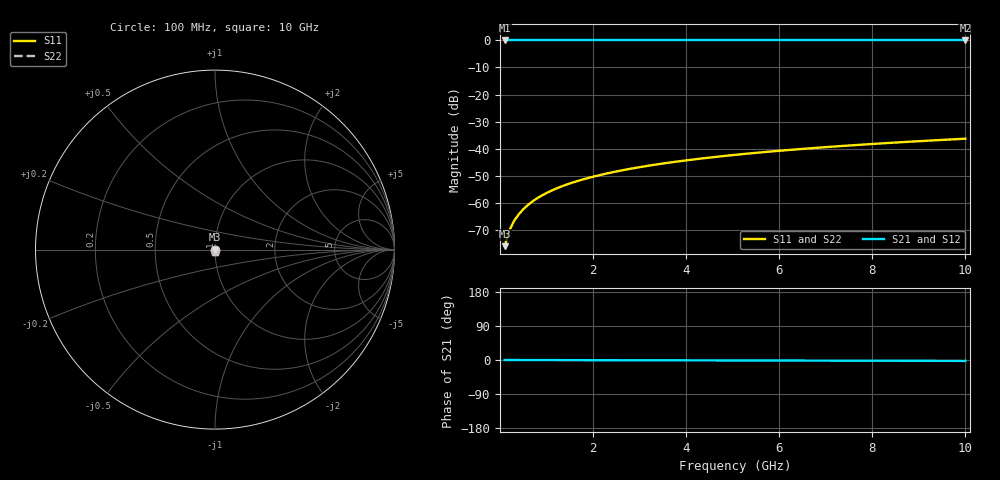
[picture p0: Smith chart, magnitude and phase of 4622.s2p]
# Hz S RI R 50.00
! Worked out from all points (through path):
!   100 points, 100 MHz to 10 GHz, reference 50 ohm
!   highest |S21| = 0.00 dB at 100 MHz (marker M1); lowest = 0.0 dB at 10 GHz (marker M2)
!   lowest |S11| = -76.1 dB at 100 MHz (marker M3), VSWR 1.00, Z = 50 - j0.0151 ohm
!   |S11| at or under -10 dB: start of sweep to end of sweep
!   |S22| runs from -76.1 to -36.3 dB; largest |S21 - S12| = 1e-15
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1e8  4.34e-05 -0.000151  1 -0.000412  1 -0.000412  4.34e-05 -0.000151
2e8  4.32e-05 -0.000301  1 -0.000823  1 -0.000823  4.32e-05 -0.000301
3e8  4.29e-05 -0.000452  1 -0.00123  1 -0.00123  4.29e-05 -0.000452
4e8  4.24e-05 -0.000602  1 -0.00165  1 -0.00165  4.24e-05 -0.000602
5e8  4.17e-05 -0.000753  1 -0.00206  1 -0.00206  4.17e-05 -0.000753
6e8  4.09e-05 -0.000903  0.9999 -0.00247  0.9999 -0.00247  4.09e-05 -0.000903
7e8  3.99e-05 -0.00105  0.9999 -0.00288  0.9999 -0.00288  3.99e-05 -0.00105
8e8  3.89e-05 -0.0012  0.9999 -0.00329  0.9999 -0.00329  3.89e-05 -0.0012
9e8  3.77e-05 -0.00136  0.9999 -0.00371  0.9999 -0.00371  3.77e-05 -0.00136
1.1e9  3.48e-05 -0.00166  0.9999 -0.00453  0.9999 -0.00453  3.48e-05 -0.00166
1.4e9  2.97e-05 -0.00211  0.9999 -0.00577  0.9999 -0.00577  2.97e-05 -0.00211
1.8e9  2.09e-05 -0.00271  0.9999 -0.00742  0.9999 -0.00742  2.09e-05 -0.00271
2.1e9  1.31e-05 -0.00317  0.9999 -0.00866  0.9999 -0.00866  1.31e-05 -0.00317
2.5e9  8.16e-07 -0.00377  0.9999 -0.0103  0.9999 -0.0103  8.16e-07 -0.00377
2.9e9  -1.35e-05 -0.00438  0.9999 -0.012  0.9999 -0.012  -1.35e-05 -0.00438
3.4e9  -3.42e-05 -0.00514  0.9998 -0.014  0.9998 -0.014  -3.42e-05 -0.00514
4.2e9  -7.4e-05 -0.00635  0.9998 -0.0174  0.9998 -0.0174  -7.4e-05 -0.00635
5.1e9  -0.000129 -0.00772  0.9997 -0.0211  0.9997 -0.0211  -0.000129 -0.00772
5.9e9  -0.000186 -0.00895  0.9996 -0.0244  0.9996 -0.0244  -0.000186 -0.00895
6.7e9  -0.000251 -0.0102  0.9995 -0.0278  0.9995 -0.0278  -0.000251 -0.0102
8.4e9  -0.000418 -0.0128  0.9992 -0.0349  0.9992 -0.0349  -0.000418 -0.0128
1e10  -0.00061 -0.0152  0.9989 -0.0416  0.9989 -0.0416  -0.00061 -0.0152
